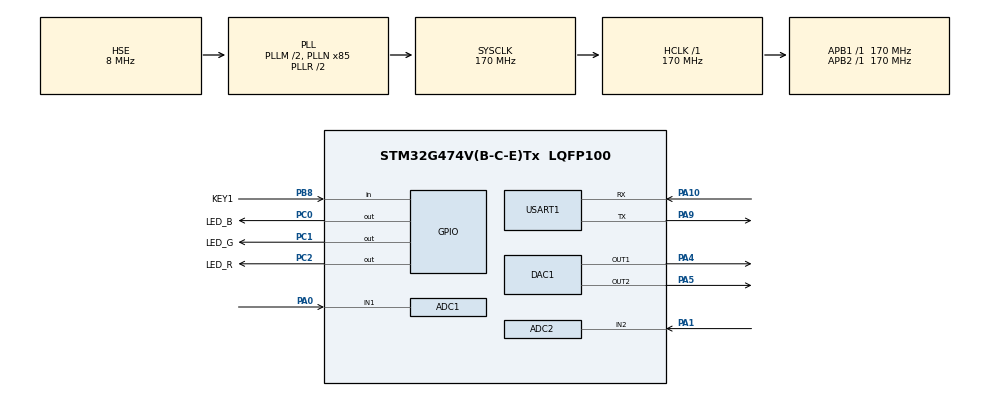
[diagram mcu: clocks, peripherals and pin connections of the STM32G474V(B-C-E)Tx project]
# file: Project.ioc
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ADC1.Channel-0\#ChannelRegularConversion=ADC_CHANNEL_1
ADC1.DMAAccessModeView=ENABLE
ADC1.ExternalTrigConv=ADC_EXTERNALTRIG_T6_TRGO
ADC1.Mode=ADC_DUALMODE_REGSIMULT
ADC1.NbrOfConversionFlag=1
ADC1.OffsetNumber-0\#ChannelRegularConversion=ADC_OFFSET_NONE
ADC1.Rank-0\#ChannelRegularConversion=1
ADC1.SamplingTime-0\#ChannelRegularConversion=ADC_SAMPLETIME_2CYCLES_5
ADC1.master=1
ADC2.Channel-0\#ChannelRegularConversion=ADC_CHANNEL_2
ADC2.DMAAccessModeView=ENABLE
ADC2.Mode=ADC_DUALMODE_REGSIMULT
ADC2.NbrOfConversionFlag=1
ADC2.OffsetNumber-0\#ChannelRegularConversion=ADC_OFFSET_NONE
ADC2.Rank-0\#ChannelRegularConversion=1
ADC2.SamplingTime-0\#ChannelRegularConversion=ADC_SAMPLETIME_2CYCLES_5
DAC1.DAC_Channel-DAC_OUT2=DAC_CHANNEL_2
DAC1.DAC_Trigger_OUT1-DAC_OUT1=DAC_TRIGGER_T7_TRGO
DAC1.DAC_Trigger_OUT2-DAC_OUT2=DAC_TRIGGER_T7_TRGO
Dma.ADC1.2.Direction=DMA_PERIPH_TO_MEMORY
Dma.ADC1.2.EventEnable=DISABLE
Dma.ADC1.2.Instance=DMA1_Channel3
Dma.ADC1.2.MemDataAlignment=DMA_MDATAALIGN_WORD
Dma.ADC1.2.MemInc=DMA_MINC_ENABLE
Dma.ADC1.2.Mode=DMA_CIRCULAR
Dma.ADC1.2.PeriphDataAlignment=DMA_PDATAALIGN_WORD
Dma.ADC1.2.PeriphInc=DMA_PINC_DISABLE
Dma.ADC1.2.Polarity=HAL_DMAMUX_REQ_GEN_RISING
Dma.ADC1.2.Priority=DMA_PRIORITY_LOW
Dma.ADC1.2.RequestNumber=1
Dma.ADC1.2.SignalID=NONE
Dma.ADC1.2.SyncEnable=DISABLE
Dma.ADC1.2.SyncPolarity=HAL_DMAMUX_SYNC_NO_EVENT
Dma.ADC1.2.SyncRequestNumber=1
Dma.ADC1.2.SyncSignalID=NONE
Dma.DAC1_CH1.3.Direction=DMA_MEMORY_TO_PERIPH
Dma.DAC1_CH1.3.EventEnable=DISABLE
Dma.DAC1_CH1.3.Instance=DMA1_Channel4
Dma.DAC1_CH1.3.MemDataAlignment=DMA_MDATAALIGN_WORD
Dma.DAC1_CH1.3.MemInc=DMA_MINC_ENABLE
Dma.DAC1_CH1.3.Mode=DMA_CIRCULAR
Dma.DAC1_CH1.3.PeriphDataAlignment=DMA_PDATAALIGN_WORD
Dma.DAC1_CH1.3.PeriphInc=DMA_PINC_DISABLE
Dma.DAC1_CH1.3.Polarity=HAL_DMAMUX_REQ_GEN_RISING
Dma.DAC1_CH1.3.Priority=DMA_PRIORITY_LOW
Dma.DAC1_CH1.3.RequestNumber=1
Dma.DAC1_CH1.3.SignalID=NONE
Dma.DAC1_CH1.3.SyncEnable=DISABLE
Dma.DAC1_CH1.3.SyncPolarity=HAL_DMAMUX_SYNC_NO_EVENT
Dma.DAC1_CH1.3.SyncRequestNumber=1
Dma.DAC1_CH1.3.SyncSignalID=NONE
Dma.Request0=USART1_TX
Dma.Request1=USART1_RX
Dma.Request2=ADC1
Dma.Request3=DAC1_CH1
Dma.USART1_RX.1.Direction=DMA_PERIPH_TO_MEMORY
Dma.USART1_RX.1.EventEnable=DISABLE
Dma.USART1_RX.1.Instance=DMA1_Channel2
Dma.USART1_RX.1.MemDataAlignment=DMA_MDATAALIGN_BYTE
Dma.USART1_RX.1.MemInc=DMA_MINC_ENABLE
Dma.USART1_RX.1.Mode=DMA_NORMAL
Dma.USART1_RX.1.PeriphDataAlignment=DMA_PDATAALIGN_BYTE
Dma.USART1_RX.1.PeriphInc=DMA_PINC_DISABLE
Dma.USART1_RX.1.Polarity=HAL_DMAMUX_REQ_GEN_RISING
Dma.USART1_RX.1.Priority=DMA_PRIORITY_LOW
Dma.USART1_RX.1.RequestNumber=1
Dma.USART1_RX.1.SignalID=NONE
Dma.USART1_RX.1.SyncEnable=DISABLE
Dma.USART1_RX.1.SyncPolarity=HAL_DMAMUX_SYNC_NO_EVENT
Dma.USART1_RX.1.SyncRequestNumber=1
Dma.USART1_RX.1.SyncSignalID=NONE
Dma.USART1_TX.0.Direction=DMA_MEMORY_TO_PERIPH
Dma.USART1_TX.0.EventEnable=DISABLE
Dma.USART1_TX.0.Instance=DMA1_Channel1
Dma.USART1_TX.0.MemDataAlignment=DMA_MDATAALIGN_BYTE
Dma.USART1_TX.0.MemInc=DMA_MINC_ENABLE
Dma.USART1_TX.0.Mode=DMA_NORMAL
Dma.USART1_TX.0.PeriphDataAlignment=DMA_PDATAALIGN_BYTE
Dma.USART1_TX.0.PeriphInc=DMA_PINC_DISABLE
Dma.USART1_TX.0.Polarity=HAL_DMAMUX_REQ_GEN_RISING
Dma.USART1_TX.0.Priority=DMA_PRIORITY_LOW
Dma.USART1_TX.0.RequestNumber=1
Dma.USART1_TX.0.SignalID=NONE
Dma.USART1_TX.0.SyncEnable=DISABLE
Dma.USART1_TX.0.SyncPolarity=HAL_DMAMUX_SYNC_NO_EVENT
Dma.USART1_TX.0.SyncRequestNumber=1
Dma.USART1_TX.0.SyncSignalID=NONE
Mcu.Family=STM32G4
Mcu.Name=STM32G474V(B-C-E)Tx
Mcu.Package=LQFP100
NVIC.DMA1_Channel1_IRQn=true\:0\:0\:false\:false\:true\:false\:true\:true
NVIC.DMA1_Channel2_IRQn=true\:0\:0\:false\:false\:true\:false\:true\:true
NVIC.DMA1_Channel3_IRQn=true\:0\:0\:false\:false\:true\:false\:true\:true
NVIC.DMA1_Channel4_IRQn=true\:0\:0\:false\:false\:true\:false\:true\:true
NVIC.PriorityGroup=NVIC_PRIORITYGROUP_4
NVIC.TIM1_TRG_COM_TIM17_IRQn=true\:0\:0\:false\:false\:true\:true\:true\:true
NVIC.USART1_IRQn=true\:0\:0\:false\:false\:true\:false\:true\:true
PA0.Mode=IN1-Single-Ended
PA0.Signal=ADC1_IN1
PA1.Mode=IN2-Single-Ended
PA1.Signal=ADC2_IN2
PA10.Mode=Asynchronous
PA10.Signal=USART1_RX
PA13.Mode=Serial_Wire
PA13.Signal=SYS_JTMS-SWDIO
PA14.Mode=Serial_Wire
PA14.Signal=SYS_JTCK-SWCLK
PA4.Signal=COMP_DAC11_group
PA5.Signal=COMP_DAC12_group
PA9.Mode=Asynchronous
PA9.Signal=USART1_TX
PB8-BOOT0.GPIO_Label=KEY1
PB8-BOOT0.Signal=GPIO_Input
PC0.GPIO_Label=LED_B
PC0.PinState=GPIO_PIN_SET
PC0.Signal=GPIO_Output
PC1.GPIO_Label=LED_G
PC1.PinState=GPIO_PIN_SET
PC1.Signal=GPIO_Output
PC2.GPIO_Label=LED_R
PC2.PinState=GPIO_PIN_SET
PC2.Signal=GPIO_Output
PF0-OSC_IN.Mode=HSE-External-Oscillator
PF0-OSC_IN.Signal=RCC_OSC_IN
PF1-OSC_OUT.Mode=HSE-External-Oscillator
PF1-OSC_OUT.Signal=RCC_OSC_OUT
ProjectManager.HeapSize=0x200
ProjectManager.StackSize=0x400
ProjectManager.TargetToolchain=MDK-ARM V5.32
RCC.ADC12Freq_Value=170000000
RCC.ADC345Freq_Value=170000000
RCC.AHBFreq_Value=170000000
RCC.APB1Freq_Value=170000000
RCC.APB1TimFreq_Value=170000000
RCC.APB2Freq_Value=170000000
RCC.APB2TimFreq_Value=170000000
RCC.CortexFreq_Value=170000000
RCC.EXTERNAL_CLOCK_VALUE=12288000
RCC.HCLKFreq_Value=170000000
RCC.HSE_VALUE=8000000
RCC.HSI48_VALUE=48000000
RCC.HSI_VALUE=16000000
RCC.LSE_VALUE=32768
RCC.PLLM=RCC_PLLM_DIV2
RCC.PLLN=85
RCC.PLLSourceVirtual=RCC_PLLSOURCE_HSE
RCC.SYSCLKFreq_VALUE=170000000
RCC.SYSCLKSource=RCC_SYSCLKSOURCE_PLLCLK
RCC.USBFreq_Value=170000000
RCC.VCOOutputFreq_Value=340000000
SH.COMP_DAC11_group.0=DAC1_OUT1,DAC_OUT1
SH.COMP_DAC12_group.0=DAC1_OUT2,DAC_OUT2
TIM17.Channel=TIM_CHANNEL_1
TIM17.PeriodNoDither=9999
TIM17.Prescaler=169
TIM6.PeriodNoDither=169
TIM6.TIM_MasterOutputTrigger=TIM_TRGO_UPDATE
TIM7.PeriodNoDither=169
TIM7.TIM_MasterOutputTrigger=TIM_TRGO_UPDATE
USART1.VirtualMode-Asynchronous=VM_ASYNC
VP_SYS_VS_DBSignals.Mode=DisableDeadBatterySignals
VP_TIM17_VS_ClockSourceINT.Mode=Enable_Timer
VP_TIM17_VS_no_output1.Mode=Output Compare1 No Output
VP_TIM6_VS_ClockSourceINT.Mode=Enable_Timer
VP_TIM7_VS_ClockSourceINT.Mode=Enable_Timer
board=custom

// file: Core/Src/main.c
/* USER CODE BEGIN Header */
/**
  ******************************************************************************
  * @file           : main.c
  * @brief          : Main program body
  ******************************************************************************
  * @attention
  *
  * Copyright (c) 2024 STMicroelectronics.
  * All rights reserved.
  *
  * This software is licensed under terms that can be found in the LICENSE file
  * in the root directory of this software component.
  * If no LICENSE file comes with this software, it is provided AS-IS.
  *
  ******************************************************************************
  */
/* USER CODE END Header */
#include "main.h"
#include "adc.h"
#include "dac.h"
#include "dma.h"
#include "tim.h"
#include "usart.h"
#include "gpio.h"

/* USER CODE BEGIN PV */
myUART_HandleTypeDef UART_Debug = { .huart = &huart1, .RxMsgUsed = true };
myADC_HandleTypeDef ADC_Dual = { .hadc_master = &hadc1, .hadc_slave = &hadc2, .htim = &htim6, .ConvFinish = false };
myDAC_HandleTypeDef DAC_Dual = { .hdac = &hdac1, .htim = &htim7 };

/* USER CODE END PV */

void SystemClock_Config(void);
/* USER CODE BEGIN PFP */
void Key_Process(uint8_t keyNum);

/* USER CODE END PFP */

/* USER CODE BEGIN 0 */
void HAL_UARTEx_RxEventCallback(UART_HandleTypeDef *huart, uint16_t Size)
{
	if (huart == UART_Debug.huart)
	{
		if (UART_Debug.RxMsgUsed == true)
		{
			myUART_Receive_DMA(&UART_Debug);
			myUART_Transmit_DMA(&UART_Debug, "RxMsg: %s", UART_Debug.UART_RxMsg);
		}
		myUART_Start_Receive_DMA(&UART_Debug);
	}
}

void HAL_TIM_PeriodElapsedCallback(TIM_HandleTypeDef *htim)
{
	if (htim == &htim17)
	{
		Key_Process(Key_Read());
	}
}

void HAL_ADC_ConvCpltCallback(ADC_HandleTypeDef *hadc)
{
	if (hadc == ADC_Dual.hadc_master)
	{
		myADC_DualStop_DMA(&ADC_Dual);
		ADC_Dual.ConvFinish = true;
	}
}

/* USER CODE END 0 */

int main(void)
{

  /* MCU Configuration--------------------------------------------------------*/

  /* Reset of all peripherals, Initializes the Flash interface and the Systick. */
  HAL_Init();

  /* Configure the system clock */
  SystemClock_Config();

  /* Initialize all configured peripherals */
  MX_GPIO_Init();
  MX_DMA_Init();
  MX_USART1_UART_Init();
  MX_TIM17_Init();
  MX_TIM6_Init();
  MX_TIM7_Init();
  MX_ADC1_Init();
  MX_ADC2_Init();
  MX_DAC1_Init();
  /* USER CODE BEGIN 2 */
  myUART_Transmit_DMA(&UART_Debug, "G474VET6 UART1 Connected.\n");
  myUART_Transmit_DMA(&UART_Debug, "Continuous sending test.\n");
  myUART_Start_Receive_DMA(&UART_Debug);
  HAL_TIM_Base_Start_IT(&htim17);

  myDAC_DualStart_DMA(&DAC_Dual);

  /* USER CODE END 2 */

  /* Infinite loop */
  /* USER CODE BEGIN WHILE */
  while (1)
  {
	if (ADC_Dual.ConvFinish == true)
	{
		for (uint16_t i = 0; i < ADC_DataSize; ++i)
			myUART_Transmit_DMA(&UART_Debug, "ADC_Data[%d]: %d, %d\n", i, ADC_Dual.ADC_DualData[i] & 0xFFFF, ADC_Dual.ADC_DualData[i] >> 16);
		ADC_Dual.ConvFinish = false;
	}

    /* USER CODE END WHILE */

  }
}

void SystemClock_Config(void)
{
  RCC_OscInitTypeDef RCC_OscInitStruct = {0};
  RCC_ClkInitTypeDef RCC_ClkInitStruct = {0};

  /** Configure the main internal regulator output voltage
  */
  HAL_PWREx_ControlVoltageScaling(PWR_REGULATOR_VOLTAGE_SCALE1_BOOST);

  /** Initializes the RCC Oscillators according to the specified parameters
  * in the RCC_OscInitTypeDef structure.
  */
  RCC_OscInitStruct.OscillatorType = RCC_OSCILLATORTYPE_HSE;
  RCC_OscInitStruct.HSEState = RCC_HSE_ON;
  RCC_OscInitStruct.PLL.PLLState = RCC_PLL_ON;
  RCC_OscInitStruct.PLL.PLLSource = RCC_PLLSOURCE_HSE;
  RCC_OscInitStruct.PLL.PLLM = RCC_PLLM_DIV2;
  RCC_OscInitStruct.PLL.PLLN = 85;
  RCC_OscInitStruct.PLL.PLLP = RCC_PLLP_DIV2;
  RCC_OscInitStruct.PLL.PLLQ = RCC_PLLQ_DIV2;
  RCC_OscInitStruct.PLL.PLLR = RCC_PLLR_DIV2;
  if (HAL_RCC_OscConfig(&RCC_OscInitStruct) != HAL_OK)
  {
    Error_Handler();
  }

  /** Initializes the CPU, AHB and APB buses clocks
  */
  RCC_ClkInitStruct.ClockType = RCC_CLOCKTYPE_HCLK|RCC_CLOCKTYPE_SYSCLK
                              |RCC_CLOCKTYPE_PCLK1|RCC_CLOCKTYPE_PCLK2;
  RCC_ClkInitStruct.SYSCLKSource = RCC_SYSCLKSOURCE_PLLCLK;
  RCC_ClkInitStruct.AHBCLKDivider = RCC_SYSCLK_DIV1;
  RCC_ClkInitStruct.APB1CLKDivider = RCC_HCLK_DIV1;
  RCC_ClkInitStruct.APB2CLKDivider = RCC_HCLK_DIV1;

  if (HAL_RCC_ClockConfig(&RCC_ClkInitStruct, FLASH_LATENCY_4) != HAL_OK)
  {
    Error_Handler();
  }
}

/* USER CODE BEGIN 4 */
void Key_Process(uint8_t keyNum)
{
	static uint16_t workState = 0;
	switch (keyNum)
	{
		case 1:
			switch (workState = (workState + 1) % 4)
			{
				case 0:  LED_R_Off;  LED_G_Off;  LED_B_Off;  break;
				case 1:  LED_R_On;   LED_G_Off;  LED_B_Off;  break;
				case 2:  LED_R_Off;  LED_G_On;   LED_B_Off;  break;
				case 3:  LED_R_Off;  LED_G_Off;  LED_B_On;   break;
			}
//			break;
		case 2:
			myADC_DualStart_DMA(&ADC_Dual);
			break;
		case 3:
			break;
		case 4:
			break;
		default:
			break;
	}
}

/* USER CODE END 4 */

void Error_Handler(void)
{
  __disable_irq();
  while (1)
  {
  }
}
